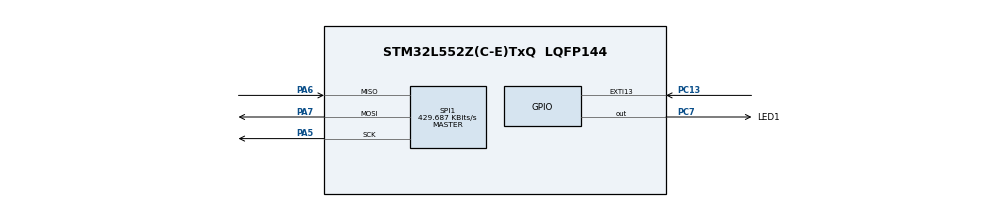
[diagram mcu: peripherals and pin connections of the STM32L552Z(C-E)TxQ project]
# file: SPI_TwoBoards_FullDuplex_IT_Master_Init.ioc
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Mcu.Family=STM32L5
Mcu.Name=STM32L552Z(C-E)TxQ
Mcu.Package=LQFP144
Mcu.TrustZone=disable
NVIC.EXTI13_IRQn=true\:0\:0\:false\:false\:true\:true\:true\:true
NVIC.PriorityGroup=NVIC_PRIORITYGROUP_3
NVIC.SPI1_IRQn=true\:0\:0\:false\:false\:false\:true\:false\:true
PA5.GPIO_PuPd=GPIO_PULLDOWN
PA5.GPIO_Speed=GPIO_SPEED_FREQ_HIGH
PA5.Mode=Full_Duplex_Master
PA5.Signal=SPI1_SCK
PA6.GPIO_Speed=GPIO_SPEED_FREQ_LOW
PA6.Mode=Full_Duplex_Master
PA6.Signal=SPI1_MISO
PA7.GPIO_PuPd=GPIO_PULLDOWN
PA7.GPIO_Speed=GPIO_SPEED_FREQ_HIGH
PA7.Mode=Full_Duplex_Master
PA7.Signal=SPI1_MOSI
PC13.GPIO_ModeDefaultEXTI=GPIO_MODE_IT_FALLING
PC13.GPIO_PuPd=GPIO_NOPULL
PC13.Signal=GPXTI13
PC7.GPIO_Label=LED1
PC7.Signal=GPIO_Output
ProjectManager.HeapSize=0x200
ProjectManager.StackSize=0x400
ProjectManager.TargetToolchain=EWARM V8.32
RCC.ADCCLockSelection=RCC_ADCCLKSOURCE_SYSCLK
RCC.ADCFreq_Value=110000000
RCC.AHBFreq_Value=110000000
RCC.APB1Freq_Value=110000000
RCC.APB1TimFreq_Value=110000000
RCC.APB2Freq_Value=110000000
RCC.APB2TimFreq_Value=110000000
RCC.CortexFreq_Value=110000000
RCC.HCLKFreq_Value=110000000
RCC.HSE_VALUE=16000000
RCC.HSI48_VALUE=48000000
RCC.HSI_VALUE=16000000
RCC.LSE_VALUE=32768
RCC.MSI_VALUE=4000000
RCC.PLLN=55
RCC.PLLSAI1N=24
RCC.RTCClockSelection=RCC_RTCCLKSOURCE_LSE
RCC.SYSCLKFreq_VALUE=110000000
RCC.SYSCLKSource=RCC_SYSCLKSOURCE_PLLCLK
RCC.USBFreq_Value=48000000
RCC.VCOOutputFreq_Value=220000000
SPI1.BaudRatePrescaler=SPI_BAUDRATEPRESCALER_256
SPI1.CLKPhase=SPI_PHASE_2EDGE
SPI1.CLKPolarity=SPI_POLARITY_HIGH
SPI1.CRCCalculation=SPI_CRCCALCULATION_DISABLE
SPI1.CalculateBaudRate=429.687 KBits/s
SPI1.DataSize=SPI_DATASIZE_8BIT
SPI1.Direction=SPI_DIRECTION_2LINES
SPI1.FirstBit=SPI_FIRSTBIT_MSB
SPI1.Mode=SPI_MODE_MASTER
SPI1.NSS=SPI_NSS_SOFT
SPI1.TIMode=SPI_TIMODE_DISABLE
SPI1.VirtualType=VM_MASTER
VP_ICACHE_VS_ICACHE.Mode=DirectMappedCache
VP_PWR_VS_DBSignals.Mode=DisableDeadBatterySignals
board=custom

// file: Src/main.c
/* USER CODE BEGIN Header */
/**
  ******************************************************************************
  * @file    Examples_LL/SPI/SPI_TwoBoards_FullDuplex_IT_Master_Init/Src/main.c
  * @author  MCD Application Team
  * @brief   This example describes how to send/receive bytes over SPI IP using
  *          the STM32L5xx SPI LL API.
  *          Peripheral initialization done using LL unitary services functions.
  ******************************************************************************
  * @attention
  *
  * Copyright (c) 2019 STMicroelectronics.
  * All rights reserved.
  *
  * This software is licensed under terms that can be found in the LICENSE file
  * in the root directory of this software component.
  * If no LICENSE file comes with this software, it is provided AS-IS.
  *
  ******************************************************************************
  */
/* USER CODE END Header */
#include "main.h"

/* USER CODE BEGIN PV */
__IO uint8_t ubButtonPress = 0;

/* Buffer used for transmission */
uint8_t aTxBuffer[] = "**** SPI_TwoBoards_FullDuplex_IT communication **** SPI_TwoBoards_FullDuplex_IT communication **** SPI_TwoBoards_FullDuplex_IT communication ****";
uint8_t ubNbDataToTransmit = sizeof(aTxBuffer);
__IO uint8_t ubTransmitIndex = 0;

/* Buffer used for reception */
uint8_t aRxBuffer[sizeof(aTxBuffer)];
uint8_t ubNbDataToReceive = sizeof(aTxBuffer);
__IO uint8_t ubReceiveIndex = 0;

/* USER CODE END PV */

void SystemClock_Config(void);
static void MX_GPIO_Init(void);
static void MX_ICACHE_Init(void);
static void MX_SPI1_Init(void);

/* USER CODE BEGIN 0 */
void     Activate_SPI(void);
void     LED_On(void);
void     LED_Blinking(uint32_t Period);
void     LED_Off(void);
void     WaitForUserButtonPress(void);
void     WaitAndCheckEndOfTransfer(void);
uint8_t  Buffercmp8(uint8_t* pBuffer1, uint8_t* pBuffer2, uint8_t BufferLength);
/* USER CODE END 0 */

int main(void)
{

  /* MCU Configuration--------------------------------------------------------*/

  /* Reset of all peripherals, Initializes the Flash interface and the Systick. */
  LL_APB2_GRP1_EnableClock(LL_APB2_GRP1_PERIPH_SYSCFG);
  LL_APB1_GRP1_EnableClock(LL_APB1_GRP1_PERIPH_PWR);

  /* System interrupt init*/
  NVIC_SetPriorityGrouping(NVIC_PRIORITYGROUP_3);

  /** Disable the internal Pull-Up in Dead Battery pins of UCPD peripheral
  */
  LL_PWR_DisableUCPDDeadBattery();

  /* Configure the system clock */
  SystemClock_Config();

  /* Initialize all configured peripherals */
  MX_GPIO_Init();
  MX_ICACHE_Init();
  MX_SPI1_Init();
  /* USER CODE BEGIN 2 */

  /* Configure the SPI1 FIFO Threshold */
  LL_SPI_SetRxFIFOThreshold(SPI1, LL_SPI_RX_FIFO_TH_QUARTER);

  /* Configure SPI1 transfer interrupts */
  /* Enable TXE   Interrupt */
  LL_SPI_EnableIT_TXE(SPI1);
  /* Enable RXNE  Interrupt */
  LL_SPI_EnableIT_RXNE(SPI1);
  /* Enable SPI1 Error Interrupt */
  LL_SPI_EnableIT_ERR(SPI1);

  /* Wait for User push-button press to start transfer */
  WaitForUserButtonPress();

  /* Enable the SPI1 peripheral */
  Activate_SPI();

  /* Wait for the end of the transfer and check received data */
  /* LED blinking FAST during waiting time */
  WaitAndCheckEndOfTransfer();

  /* USER CODE END 2 */

  /* Infinite loop */
  while (1)
  {

  }
}

void SystemClock_Config(void)
{
  LL_FLASH_SetLatency(LL_FLASH_LATENCY_5);
  while(LL_FLASH_GetLatency()!= LL_FLASH_LATENCY_5)
  {
  }

  LL_PWR_SetRegulVoltageScaling(LL_PWR_REGU_VOLTAGE_SCALE0);
  LL_RCC_MSI_Enable();

   /* Wait till MSI is ready */
  while(LL_RCC_MSI_IsReady() != 1)
  {
  }

  LL_RCC_MSI_EnableRangeSelection();
  LL_RCC_MSI_SetRange(LL_RCC_MSIRANGE_6);
  LL_RCC_MSI_SetCalibTrimming(0);
  LL_RCC_PLL_ConfigDomain_SYS(LL_RCC_PLLSOURCE_MSI, LL_RCC_PLLM_DIV_1, 55, LL_RCC_PLLR_DIV_2);
  LL_RCC_PLL_EnableDomain_SYS();
  LL_RCC_PLL_Enable();

   /* Wait till PLL is ready */
  while(LL_RCC_PLL_IsReady() != 1)
  {
  }

   /* Intermediate AHB prescaler 2 when target frequency clock is higher than 80 MHz */
   LL_RCC_SetAHBPrescaler(LL_RCC_SYSCLK_DIV_2);

  LL_RCC_SetSysClkSource(LL_RCC_SYS_CLKSOURCE_PLL);

   /* Wait till System clock is ready */
  while(LL_RCC_GetSysClkSource() != LL_RCC_SYS_CLKSOURCE_STATUS_PLL)
  {
  }

  /* Insure 1us transition state at intermediate medium speed clock*/
  for (__IO uint32_t i = (RCC_MAX_FREQUENCY_MHZ >> 1); i !=0; i--);

  LL_RCC_SetAHBPrescaler(LL_RCC_SYSCLK_DIV_1);
  LL_RCC_SetAPB1Prescaler(LL_RCC_APB1_DIV_1);
  LL_RCC_SetAPB2Prescaler(LL_RCC_APB2_DIV_1);

  LL_Init1msTick(110000000);

  LL_SetSystemCoreClock(110000000);
}

static void MX_ICACHE_Init(void)
{

  /** Enable instruction cache in 1-way (direct mapped cache)
  */
  LL_ICACHE_SetMode(LL_ICACHE_1WAY);
  LL_ICACHE_Enable();

}

static void MX_SPI1_Init(void)
{

  LL_SPI_InitTypeDef SPI_InitStruct = {0};

  LL_GPIO_InitTypeDef GPIO_InitStruct = {0};

  /* Peripheral clock enable */
  LL_APB2_GRP1_EnableClock(LL_APB2_GRP1_PERIPH_SPI1);

  LL_AHB2_GRP1_EnableClock(LL_AHB2_GRP1_PERIPH_GPIOA);
  /**SPI1 GPIO Configuration
  PA5   ------> SPI1_SCK
  PA6   ------> SPI1_MISO
  PA7   ------> SPI1_MOSI
  */
  GPIO_InitStruct.Pin = LL_GPIO_PIN_5|LL_GPIO_PIN_7;
  GPIO_InitStruct.Mode = LL_GPIO_MODE_ALTERNATE;
  GPIO_InitStruct.Speed = LL_GPIO_SPEED_FREQ_HIGH;
  GPIO_InitStruct.OutputType = LL_GPIO_OUTPUT_PUSHPULL;
  GPIO_InitStruct.Pull = LL_GPIO_PULL_DOWN;
  GPIO_InitStruct.Alternate = LL_GPIO_AF_5;
  LL_GPIO_Init(GPIOA, &GPIO_InitStruct);

  GPIO_InitStruct.Pin = LL_GPIO_PIN_6;
  GPIO_InitStruct.Mode = LL_GPIO_MODE_ALTERNATE;
  GPIO_InitStruct.Speed = LL_GPIO_SPEED_FREQ_LOW;
  GPIO_InitStruct.OutputType = LL_GPIO_OUTPUT_PUSHPULL;
  GPIO_InitStruct.Pull = LL_GPIO_PULL_NO;
  GPIO_InitStruct.Alternate = LL_GPIO_AF_5;
  LL_GPIO_Init(GPIOA, &GPIO_InitStruct);

  /* SPI1 interrupt Init */
  NVIC_SetPriority(SPI1_IRQn, NVIC_EncodePriority(NVIC_GetPriorityGrouping(),0, 0));
  NVIC_EnableIRQ(SPI1_IRQn);

  /* SPI1 parameter configuration*/
  SPI_InitStruct.TransferDirection = LL_SPI_FULL_DUPLEX;
  SPI_InitStruct.Mode = LL_SPI_MODE_MASTER;
  SPI_InitStruct.DataWidth = LL_SPI_DATAWIDTH_8BIT;
  SPI_InitStruct.ClockPolarity = LL_SPI_POLARITY_HIGH;
  SPI_InitStruct.ClockPhase = LL_SPI_PHASE_2EDGE;
  SPI_InitStruct.NSS = LL_SPI_NSS_SOFT;
  SPI_InitStruct.BaudRate = LL_SPI_BAUDRATEPRESCALER_DIV256;
  SPI_InitStruct.BitOrder = LL_SPI_MSB_FIRST;
  SPI_InitStruct.CRCCalculation = LL_SPI_CRCCALCULATION_DISABLE;
  SPI_InitStruct.CRCPoly = 7;
  LL_SPI_Init(SPI1, &SPI_InitStruct);
  LL_SPI_SetStandard(SPI1, LL_SPI_PROTOCOL_MOTOROLA);
  LL_SPI_DisableNSSPulseMgt(SPI1);

}

static void MX_GPIO_Init(void)
{
  LL_EXTI_InitTypeDef EXTI_InitStruct = {0};
  LL_GPIO_InitTypeDef GPIO_InitStruct = {0};

  /* GPIO Ports Clock Enable */
  LL_AHB2_GRP1_EnableClock(LL_AHB2_GRP1_PERIPH_GPIOC);
  LL_AHB2_GRP1_EnableClock(LL_AHB2_GRP1_PERIPH_GPIOA);

  /**/
  LL_GPIO_ResetOutputPin(LED1_GPIO_Port, LED1_Pin);

  /**/
  LL_EXTI_SetEXTISource(LL_EXTI_EXTI_PORTC, LL_EXTI_EXTI_LINE13);

  /**/
  EXTI_InitStruct.Line_0_31 = LL_EXTI_LINE_13;
  EXTI_InitStruct.Line_32_63 = LL_EXTI_LINE_NONE;
  EXTI_InitStruct.LineCommand = ENABLE;
  EXTI_InitStruct.Mode = LL_EXTI_MODE_IT;
  EXTI_InitStruct.Trigger = LL_EXTI_TRIGGER_FALLING;
  LL_EXTI_Init(&EXTI_InitStruct);

  /**/
  LL_GPIO_SetPinPull(GPIOC, LL_GPIO_PIN_13, LL_GPIO_PULL_NO);

  /**/
  LL_GPIO_SetPinMode(GPIOC, LL_GPIO_PIN_13, LL_GPIO_MODE_INPUT);

  /**/
  GPIO_InitStruct.Pin = LED1_Pin;
  GPIO_InitStruct.Mode = LL_GPIO_MODE_OUTPUT;
  GPIO_InitStruct.Speed = LL_GPIO_SPEED_FREQ_LOW;
  GPIO_InitStruct.OutputType = LL_GPIO_OUTPUT_PUSHPULL;
  GPIO_InitStruct.Pull = LL_GPIO_PULL_NO;
  LL_GPIO_Init(LED1_GPIO_Port, &GPIO_InitStruct);

  /* EXTI interrupt init*/
  NVIC_SetPriority(EXTI13_IRQn, NVIC_EncodePriority(NVIC_GetPriorityGrouping(),0, 0));
  NVIC_EnableIRQ(EXTI13_IRQn);

}

/* USER CODE BEGIN 4 */

/**
  * @brief  This function Activate SPI1
  * @param  None
  * @retval None
  */
void Activate_SPI(void)
{
  /* Enable SPI1 */
  LL_SPI_Enable(SPI1);
}

/**
  * @brief  Turn-on LED1.
  * @param  None
  * @retval None
  */
void LED_On(void)
{
  /* Turn LED1 on */
  LL_GPIO_SetOutputPin(LED1_GPIO_PORT, LED1_PIN);
}

/**
  * @brief  Turn-off LED1.
  * @param  None
  * @retval None
  */
void LED_Off(void)
{
  /* Turn LED1 off */
  LL_GPIO_ResetOutputPin(LED1_GPIO_PORT, LED1_PIN);
}

/**
  * @brief  Set LED1 to Blinking mode for an infinite loop (toggle period based on value provided as input parameter).
  * @param  Period : Period of time (in ms) between each toggling of LED
  *   This parameter can be user defined values. Pre-defined values used in that example are :
  *     @arg LED_BLINK_FAST : Fast Blinking
  *     @arg LED_BLINK_SLOW : Slow Blinking
  *     @arg LED_BLINK_ERROR : Error specific Blinking
  * @retval None
  */
void LED_Blinking(uint32_t Period)
{
  /* Toggle LED1 in an infinite loop */
  while (1)
  {
    LL_GPIO_TogglePin(LED1_GPIO_PORT, LED1_PIN);
    LL_mDelay(Period);
  }
}

/**
  * @brief  Wait for User push-button press to start transfer.
  * @param  None
  * @retval None
  */
  /*  */
void WaitForUserButtonPress(void)
{
  while (ubButtonPress == 0)
  {
    LL_GPIO_TogglePin(LED1_GPIO_PORT, LED1_PIN);
    LL_mDelay(LED_BLINK_FAST);
  }
  /* Ensure that LED1 is turned Off */
  LED_Off();
}

/**
  * @brief  Wait end of transfer and check if received Data are well.
  * @param  None
  * @retval None
  */
void WaitAndCheckEndOfTransfer(void)
{
  /* 1 - Wait end of transmission */
  while (ubTransmitIndex != ubNbDataToTransmit)
  {
  }
  /* Disable TXE Interrupt */
  LL_SPI_DisableIT_TXE(SPI1);

  /* 2 - Wait end of reception */
  while (ubNbDataToReceive > ubReceiveIndex)
  {
  }
  /* Disable RXNE Interrupt */
  LL_SPI_DisableIT_RXNE(SPI1);

  /* 3 - Compare Transmit data to receive data */
  if(Buffercmp8((uint8_t*)aTxBuffer, (uint8_t*)aRxBuffer, ubNbDataToTransmit))
  {
    /* Processing Error */
    LED_Blinking(LED_BLINK_ERROR);
  }
  else
  {
    /* Turn On Led if data are well received */
    LED_On();
  }
}

/**
* @brief Compares two 8-bit buffers and returns the comparison result.
* @param pBuffer1: pointer to the source buffer to be compared to.
* @param pBuffer2: pointer to the second source buffer to be compared to the first.
* @param BufferLength: buffer's length.
* @retval   0: Comparison is OK (the two Buffers are identical)
*           Value different from 0: Comparison is NOK (Buffers are different)
*/
uint8_t Buffercmp8(uint8_t* pBuffer1, uint8_t* pBuffer2, uint8_t BufferLength)
{
  while (BufferLength--)
  {
    if (*pBuffer1 != *pBuffer2)
    {
      return 1;
    }

    pBuffer1++;
    pBuffer2++;
  }

  return 0;
}

/******************************************************************************/
/*   USER IRQ HANDLER TREATMENT Functions                                     */
/******************************************************************************/
/**
  * @brief  Function to manage User push-button
  * @param  None
  * @retval None
  */
void UserButton_Callback(void)
{
  /* Update User push-button variable : to be checked in waiting loop in main program */
  ubButtonPress = 1;
}

/**
  * @brief  Function called from SPI1 IRQ Handler when RXNE flag is set
  *         Function is in charge of retrieving received byte from SPI lines.
  * @param  None
  * @retval None
  */
void  SPI1_Rx_Callback(void)
{
  /* Read character in Data register.
  RXNE flag is cleared by reading data in DR register */
  aRxBuffer[ubReceiveIndex++] = LL_SPI_ReceiveData8(SPI1);
}

/**
  * @brief  Function called from SPI1 IRQ Handler when TXE flag is set
  *         Function is in charge  to transmit byte on SPI lines.
  * @param  None
  * @retval None
  */
void  SPI1_Tx_Callback(void)
{
  /* Write character in Data register.
  TXE flag is cleared by reading data in DR register */
  LL_SPI_TransmitData8(SPI1, aTxBuffer[ubTransmitIndex++]);
}

/**
  * @brief  Function called in case of error detected in SPI IT Handler
  * @param  None
  * @retval None
  */
void SPI1_TransferError_Callback(void)
{
  /* Disable RXNE  Interrupt             */
  LL_SPI_DisableIT_RXNE(SPI1);

  /* Disable TXE   Interrupt             */
  LL_SPI_DisableIT_TXE(SPI1);

  /* Set LED1 to Blinking mode to indicate error occurs */
  LED_Blinking(LED_BLINK_ERROR);
}

/* USER CODE END 4 */

void Error_Handler(void)
{
  while(1)
  {
  }
}

#ifdef  USE_FULL_ASSERT
/**
  * @brief  Reports the name of the source file and the source line number
  *         where the assert_param error has occurred.
  * @param  file: pointer to the source file name
  * @param  line: assert_param error line source number
  * @retval None
  */
void assert_failed(uint8_t *file, uint32_t line)
{
  /* USER CODE BEGIN 6 */
  /* User can add his own implementation to report the file name and line number,
     ex: printf("Wrong parameters value: file %s on line %d\r\n", file, line) */
  /* Infinite loop */
  while (1)
  {}
  /* USER CODE END 6 */
}
#endif /* USE_FULL_ASSERT */
